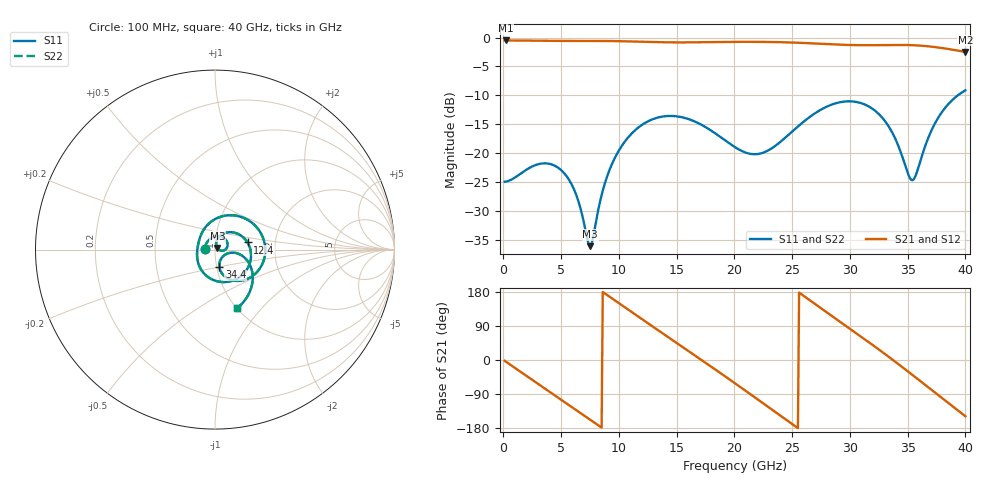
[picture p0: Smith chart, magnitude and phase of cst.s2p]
! C_s8_ap1000: L1→L8, antipad Ø1 on every plane
! stackup: 8-layer 1.6 mm FR-4 (generic)
! ports: 1, 2
! CST Studio Suite 2025.5 Release from 2025-05-30, time domain (FIT, hexahedral, PBA), 154800 mesh cells, 34 s
! mesh: {'lpw': 20, 'lpb': 20, 'minstep': 0.0, 'ratio': 20}; ports: port 1 (face); port 2 (face)
! interpolated from CST's 1001 samples to the case grid
# Hz S RI R 50
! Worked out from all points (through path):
!   400 points, 100 MHz to 40 GHz, reference 50 ohm
!   highest |S21| = -0.51 dB at 200 MHz (marker M1); lowest = -2.5 dB at 40 GHz (marker M2)
!   group delay of S21, straight-line fit = 59.8 ps
!   lowest |S11| = -36.1 dB at 7.5 GHz (marker M3), VSWR 1.03, Z = 51.3 + j0.877 ohm
!   |S11| at or under -10 dB: start of sweep to 39.36 GHz
!   |S22| runs from -36.1 to -9.1 dB; largest |S21 - S12| = 4.5e-07
!   S11 on the Smith chart (normalised r, x): 100 MHz: 0.89, +0.01; 12.4 GHz: 1.44, +0.12; 34.4 GHz: 1.03, -0.21; 40 GHz: 1.01, -0.75
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1e8  -0.0561 0.00479  0.9428 -0.0348  0.9428 -0.0348  -0.0561 0.00479
2e8  -0.0557 0.00956  0.9409 -0.0695  0.9409 -0.0695  -0.0557 0.00956
1.8e9  -0.0142 0.0682  0.7422 -0.5787  0.7422 -0.5787  -0.0142 0.0682
3.7e9  0.058 0.0569  0.1987 -0.9151  0.1987 -0.9151  0.058 0.0569
6.8e9  0.0292 -0.00451  -0.7429 -0.5683  -0.7429 -0.5683  0.0292 -0.00451
7.5e9  0.013 0.00855  -0.8632 -0.3606  -0.8632 -0.3606  0.013 0.00855
9.7e9  0.0384 0.0846  -0.852 0.377  -0.852 0.377  0.0384 0.0846
1.24e10  0.1811 0.04  -0.1483 0.9045  -0.1483 0.9045  0.1811 0.04
1.34e10  0.201 -0.0294  0.182 0.893  0.182 0.893  0.201 -0.0294
1.69e10  0.0245 -0.1791  0.906 0.0886  0.906 0.0886  0.0245 -0.1791
1.84e10  -0.0608 -0.1332  0.8213 -0.4032  0.8213 -0.4032  -0.0608 -0.1332
2.01e10  -0.0984 -0.0522  0.4234 -0.815  0.4234 -0.815  -0.0984 -0.0522
2.2e10  -0.0946 0.0253  -0.2159 -0.892  -0.2159 -0.892  -0.0946 0.0253
2.4e10  -0.0654 0.1069  -0.7654 -0.4945  -0.7654 -0.4945  -0.0654 0.1069
2.67e10  0.0893 0.1915  -0.7999 0.3923  -0.7999 0.3923  0.0893 0.1915
2.84e10  0.2279 0.1292  -0.3962 0.7786  -0.3962 0.7786  0.2279 0.1292
3e10  0.2797 -0.0183  0.113 0.8539  0.113 0.8539  0.2797 -0.0183
3.34e10  0.0618 -0.1554  0.8553 0.1131  0.8553 0.1131  0.0618 -0.1554
3.44e10  0.0246 -0.0986  0.8318 -0.2313  0.8318 -0.2313  0.0246 -0.0986
3.55e10  0.0473 -0.035  0.6428 -0.5679  0.6428 -0.5679  0.0473 -0.035
3.72e10  0.1622 -0.0422  0.1137 -0.823  0.1137 -0.823  0.1622 -0.0422
4e10  0.1247 -0.3258  -0.6403 -0.3924  -0.6403 -0.3924  0.1247 -0.3258
